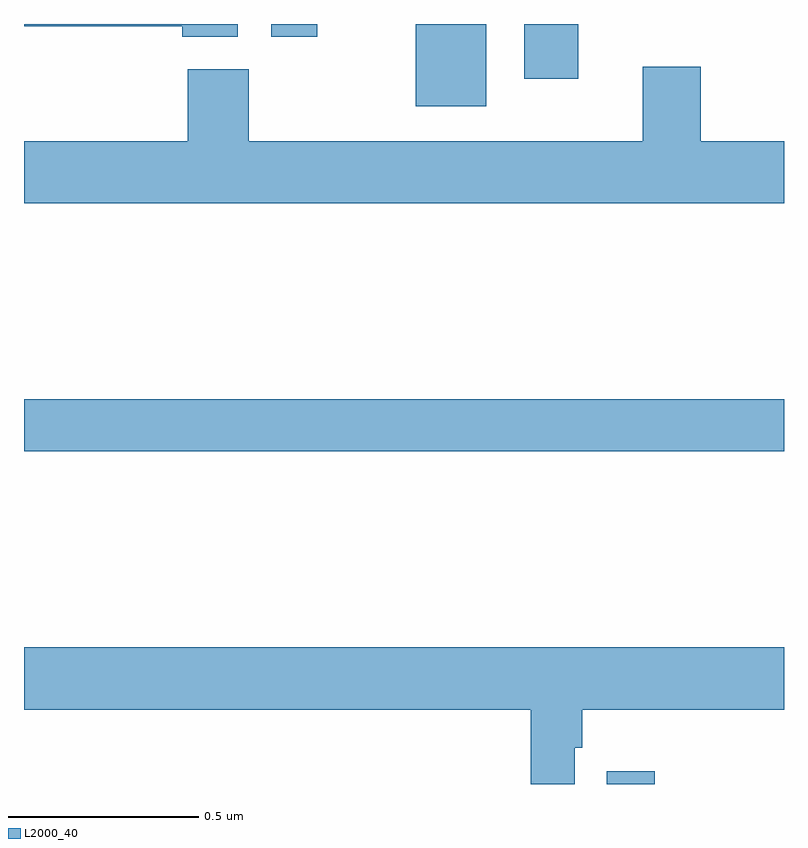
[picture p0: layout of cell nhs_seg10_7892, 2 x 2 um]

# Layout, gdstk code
import gdstk
lib = gdstk.Library(unit=1e-6, precision=1e-09)
def R(c, l, rs):  # rectangles x0, y0, x1, y1
    for r in rs: c.add(gdstk.rectangle(r[:2], r[2:], *l))
def P(c, l, *ps):  # polygons
    for p in ps: c.add(gdstk.Polygon(p, *l))
L2000_40 = (2000, 40)

nhs_seg10_7892 = lib.new_cell('nhs_seg10_7892')
R(nhs_seg10_7892, L2000_40, [(211.534,1253.5,211.66,1253.533), (210,1254.376,212,1254.512), (211.031,1255.283,211.216,1255.5), (211.316,1255.356,211.459,1255.5), (210.65,1255.467,210.772,1255.5)])
P(nhs_seg10_7892, L2000_40, [(210.562,1255.5),(210,1255.5),(210,1255.494),(210.416,1255.494),(210.416,1255.466),(210.562,1255.466)],
  [(212,1255.192),(211.781,1255.192),(211.781,1255.387),(211.628,1255.387),(211.628,1255.192),(210.591,1255.192),(210.591,1255.381),(210.431,1255.381),(210.431,1255.192),(210,1255.192),(210,1255.028),(212,1255.028)],
  [(211.449,1253.595),(211.469,1253.595),(211.469,1253.696),(212,1253.696),(212,1253.86),(210,1253.86),(210,1253.696),(211.333,1253.696),(211.333,1253.5),(211.449,1253.5)])

lib.write_gds('nhs_seg10_7892.gds')
